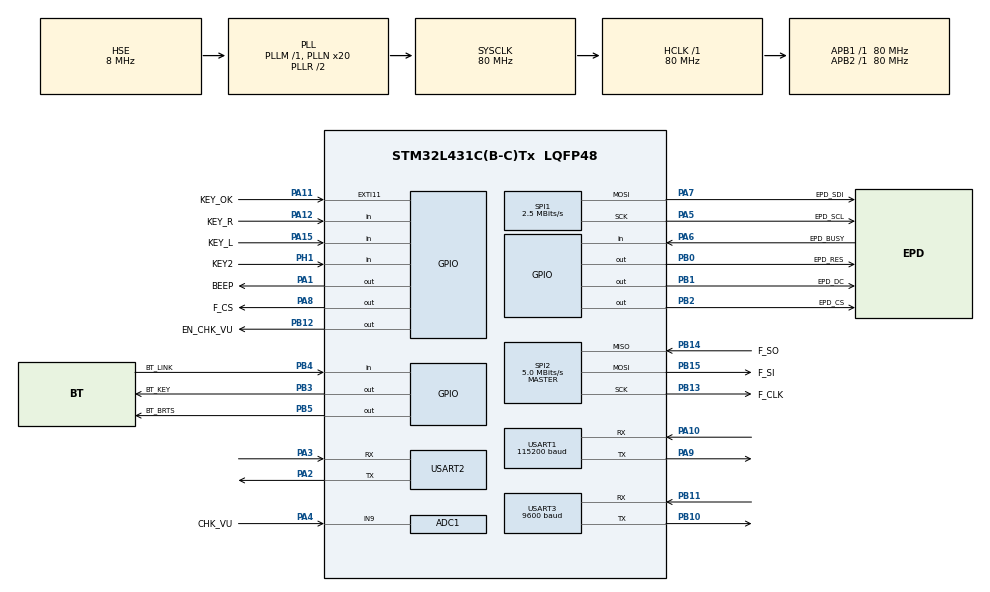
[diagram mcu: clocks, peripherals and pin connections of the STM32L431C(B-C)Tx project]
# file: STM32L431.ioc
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ADC1.Channel-1\#ChannelRegularConversion=ADC_CHANNEL_9
ADC1.NbrOfConversionFlag=1
ADC1.OffsetNumber-1\#ChannelRegularConversion=ADC_OFFSET_NONE
ADC1.Rank-1\#ChannelRegularConversion=1
ADC1.SamplingTime-1\#ChannelRegularConversion=ADC_SAMPLETIME_12CYCLES_5
ADC1.master=1
Dma.Request0=USART1_RX
Dma.Request1=USART1_TX
Dma.USART1_RX.0.Direction=DMA_PERIPH_TO_MEMORY
Dma.USART1_RX.0.Instance=DMA1_Channel5
Dma.USART1_RX.0.MemDataAlignment=DMA_MDATAALIGN_BYTE
Dma.USART1_RX.0.MemInc=DMA_MINC_ENABLE
Dma.USART1_RX.0.Mode=DMA_CIRCULAR
Dma.USART1_RX.0.PeriphDataAlignment=DMA_PDATAALIGN_BYTE
Dma.USART1_RX.0.PeriphInc=DMA_PINC_DISABLE
Dma.USART1_RX.0.Priority=DMA_PRIORITY_LOW
Dma.USART1_TX.1.Direction=DMA_MEMORY_TO_PERIPH
Dma.USART1_TX.1.Instance=DMA1_Channel4
Dma.USART1_TX.1.MemDataAlignment=DMA_MDATAALIGN_BYTE
Dma.USART1_TX.1.MemInc=DMA_MINC_ENABLE
Dma.USART1_TX.1.Mode=DMA_NORMAL
Dma.USART1_TX.1.PeriphDataAlignment=DMA_PDATAALIGN_BYTE
Dma.USART1_TX.1.PeriphInc=DMA_PINC_DISABLE
Dma.USART1_TX.1.Priority=DMA_PRIORITY_LOW
FREERTOS.Tasks01=defaultTask,0,128,StartDefaultTask,Default,NULL,Dynamic,NULL,NULL
FREERTOS.configMAX_PRIORITIES=16
FREERTOS.configTOTAL_HEAP_SIZE=15360
FREERTOS.configUSE_TICKLESS_IDLE=1
Mcu.Family=STM32L4
Mcu.Name=STM32L431C(B-C)Tx
Mcu.Package=LQFP48
NVIC.DMA1_Channel4_IRQn=true\:9\:0\:true\:false\:true\:true\:false\:true\:true
NVIC.DMA1_Channel5_IRQn=true\:9\:0\:true\:false\:true\:true\:false\:true\:true
NVIC.EXTI15_10_IRQn=true\:9\:0\:true\:false\:true\:true\:true\:true\:true
NVIC.PriorityGroup=NVIC_PRIORITYGROUP_4
NVIC.TIM1_UP_TIM16_IRQn=true\:15\:0\:false\:false\:true\:false\:false\:true\:true
NVIC.TimeBase=TIM1_UP_TIM16_IRQn
NVIC.TimeBaseIP=TIM1
NVIC.USART1_IRQn=true\:7\:0\:true\:false\:true\:true\:true\:true\:true
NVIC.USART2_IRQn=true\:7\:0\:true\:false\:true\:true\:true\:true\:true
PA0.GPIO_Label=KEY_WKUP
PA0.Mode=SYS_WakeUp0
PA0.Signal=SYS_WKUP1
PA1.GPIO_Label=BEEP
PA1.GPIO_ModeDefaultOutputPP=GPIO_MODE_OUTPUT_PP
PA1.GPIO_PuPd=GPIO_PULLUP
PA1.GPIO_Speed=GPIO_SPEED_FREQ_HIGH
PA1.PinState=GPIO_PIN_RESET
PA1.Signal=GPIO_Output
PA10.Mode=Asynchronous
PA10.Signal=USART1_RX
PA11.GPIO_Label=KEY_OK
PA11.GPIO_PuPd=GPIO_PULLUP
PA11.Signal=GPXTI11
PA12.GPIO_Label=KEY_R
PA12.GPIO_PuPd=GPIO_PULLUP
PA12.Signal=GPIO_Input
PA13\ (JTMS-SWDIO).Mode=Serial_Wire
PA13\ (JTMS-SWDIO).Signal=SYS_JTMS-SWDIO
PA14\ (JTCK-SWCLK).Mode=Serial_Wire
PA14\ (JTCK-SWCLK).Signal=SYS_JTCK-SWCLK
PA15\ (JTDI).GPIO_Label=KEY_L
PA15\ (JTDI).GPIO_PuPd=GPIO_PULLUP
PA15\ (JTDI).Signal=GPIO_Input
PA2.Mode=Asynchronous
PA2.Signal=USART2_TX
PA3.Mode=Asynchronous
PA3.Signal=USART2_RX
PA4.GPIO_Label=CHK_VU
PA4.Signal=ADCx_IN9
PA5.GPIO_Label=EPD_SCL
PA5.Mode=TX_Only_Simplex_Unidirect_Master
PA5.Signal=SPI1_SCK
PA6.GPIO_Label=EPD_BUSY
PA6.GPIO_PuPd=GPIO_PULLDOWN
PA6.Signal=GPIO_Input
PA7.GPIO_Label=EPD_SDI
PA7.Mode=TX_Only_Simplex_Unidirect_Master
PA7.Signal=SPI1_MOSI
PA8.GPIO_Label=F_CS
PA8.GPIO_Speed=GPIO_SPEED_FREQ_HIGH
PA8.Signal=GPIO_Output
PA9.Mode=Asynchronous
PA9.Signal=USART1_TX
PB0.GPIO_Label=EPD_RES
PB0.GPIO_Speed=GPIO_SPEED_FREQ_HIGH
PB0.PinState=GPIO_PIN_RESET
PB0.Signal=GPIO_Output
PB1.GPIO_Label=EPD_DC
PB1.GPIO_Speed=GPIO_SPEED_FREQ_HIGH
PB1.Signal=GPIO_Output
PB10.Mode=Asynchronous
PB10.Signal=USART3_TX
PB11.Mode=Asynchronous
PB11.Signal=USART3_RX
PB12.GPIO_Label=EN_CHK_VU
PB12.GPIO_Speed=GPIO_SPEED_FREQ_HIGH
PB12.Signal=GPIO_Output
PB13.GPIO_Label=F_CLK
PB13.Mode=Full_Duplex_Master
PB13.Signal=SPI2_SCK
PB14.GPIO_Label=F_SO
PB14.Mode=Full_Duplex_Master
PB14.Signal=SPI2_MISO
PB15.GPIO_Label=F_SI
PB15.Mode=Full_Duplex_Master
PB15.Signal=SPI2_MOSI
PB2.GPIO_Label=EPD_CS
PB2.GPIO_Speed=GPIO_SPEED_FREQ_HIGH
PB2.Signal=GPIO_Output
PB3\ (JTDO-TRACESWO).GPIO_Label=BT_KEY
PB3\ (JTDO-TRACESWO).GPIO_ModeDefaultOutputPP=GPIO_MODE_OUTPUT_PP
PB3\ (JTDO-TRACESWO).GPIO_PuPd=GPIO_PULLUP
PB3\ (JTDO-TRACESWO).GPIO_Speed=GPIO_SPEED_FREQ_LOW
PB3\ (JTDO-TRACESWO).PinState=GPIO_PIN_SET
PB3\ (JTDO-TRACESWO).Signal=GPIO_Output
PB4\ (NJTRST).GPIO_Label=BT_LINK
PB4\ (NJTRST).Signal=GPIO_Input
PB5.GPIO_Label=BT_BRTS
PB5.GPIO_PuPd=GPIO_PULLUP
PB5.GPIO_Speed=GPIO_SPEED_FREQ_LOW
PB5.PinState=GPIO_PIN_SET
PB5.Signal=GPIO_Output
PC14-OSC32_IN\ (PC14).Mode=LSE-External-Oscillator
PC14-OSC32_IN\ (PC14).Signal=RCC_OSC32_IN
PC15-OSC32_OUT\ (PC15).Mode=LSE-External-Oscillator
PC15-OSC32_OUT\ (PC15).Signal=RCC_OSC32_OUT
PH0-OSC_IN\ (PH0).Mode=HSE-External-Clock-Source
PH0-OSC_IN\ (PH0).Signal=RCC_OSC_IN
PH1-OSC_OUT\ (PH1).GPIO_Label=KEY2
PH1-OSC_OUT\ (PH1).Signal=GPIO_Input
ProjectManager.HeapSize=0x400
ProjectManager.StackSize=0x800
ProjectManager.TargetToolchain=MDK-ARM V5.32
RCC.ADCFreq_Value=80000000
RCC.AHBFreq_Value=80000000
RCC.APB1Freq_Value=80000000
RCC.APB1TimFreq_Value=80000000
RCC.APB2Freq_Value=80000000
RCC.APB2TimFreq_Value=80000000
RCC.CortexFreq_Value=80000000
RCC.HCLKFreq_Value=80000000
RCC.HSE_VALUE=8000000
RCC.HSI48_VALUE=48000000
RCC.HSI_VALUE=16000000
RCC.MSI_VALUE=4000000
RCC.PLLN=20
RCC.PLLSAI1N=20
RCC.PLLSourceVirtual=RCC_PLLSOURCE_HSE
RCC.SYSCLKFreq_VALUE=80000000
RCC.SYSCLKSource=RCC_SYSCLKSOURCE_PLLCLK
RCC.VCOOutputFreq_Value=160000000
SH.ADCx_IN9.0=ADC1_IN9,IN9-Single-Ended
SPI1.BaudRatePrescaler=SPI_BAUDRATEPRESCALER_32
SPI1.CalculateBaudRate=2.5 MBits/s
SPI1.DataSize=SPI_DATASIZE_8BIT
SPI1.Direction=SPI_DIRECTION_2LINES
SPI1.Mode=SPI_MODE_MASTER
SPI1.NSSPMode=SPI_NSS_PULSE_ENABLE
SPI1.VirtualType=VM_MASTER
SPI2.BaudRatePrescaler=SPI_BAUDRATEPRESCALER_16
SPI2.CLKPhase=SPI_PHASE_1EDGE
SPI2.CalculateBaudRate=5.0 MBits/s
SPI2.DataSize=SPI_DATASIZE_8BIT
SPI2.Direction=SPI_DIRECTION_2LINES
SPI2.Mode=SPI_MODE_MASTER
SPI2.VirtualType=VM_MASTER
USART1.BaudRate=115200
USART1.VirtualMode-Asynchronous=VM_ASYNC
USART2.VirtualMode-Asynchronous=VM_ASYNC
USART3.BaudRate=9600
USART3.VirtualMode-Asynchronous=VM_ASYNC
VP_FREERTOS_VS_CMSIS_V1.Mode=CMSIS_V1
VP_SYS_VS_tim1.Mode=TIM1
board=custom

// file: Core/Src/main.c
/* USER CODE BEGIN Header */
/**
  ******************************************************************************
  * @file           : main.c
  * @brief          : Main program body
  ******************************************************************************
  * @attention
  *
  * Copyright (c) 2025 STMicroelectronics.
  * All rights reserved.
  *
  * This software is licensed under terms that can be found in the LICENSE file
  * in the root directory of this software component.
  * If no LICENSE file comes with this software, it is provided AS-IS.
  *
  ******************************************************************************
  */
/* USER CODE END Header */
#include "main.h"
#include "cmsis_os.h"
#include "adc.h"
#include "dma.h"
#include "spi.h"
#include "usart.h"
#include "gpio.h"

/* USER CODE BEGIN Includes */
#include "ATcmd.h"
#include "w25qxx.h"
#include "DEV_Config.h"
#include "EPD_Command.h"
#include "GUI_Paint.h"
#include "Button.h"
#include "test.h"
#include "gbkfont.h"
#include "bl.h"
/* USER CODE END Includes */

/* USER CODE BEGIN PTD */
TaskHandle_t StartTask_Handler;
void start_task(void *pvParameters);

/* USER CODE END PTD */

void SystemClock_Config(void);
void MX_FREERTOS_Init(void);

int main(void)
{

  /* MCU Configuration--------------------------------------------------------*/

  /* Reset of all peripherals, Initializes the Flash interface and the Systick. */
  HAL_Init();

  /* Configure the system clock */
  SystemClock_Config();

  /* Initialize all configured peripherals */
  MX_GPIO_Init();
  MX_DMA_Init();
  MX_ADC1_Init();
  MX_SPI1_Init();
  MX_SPI2_Init();
  MX_USART1_UART_Init();
  MX_USART2_UART_Init();
  MX_USART3_UART_Init();
  /* USER CODE BEGIN 2 */
	DWT_Init();
	W25QXX_Init();

	if (CheckBootFlag())
	{
		printf("\r\n  Boot flag detected. Staying in Bootloader.\r\n");
	}
	else
	{
			if (IsUserProgramValid() && HAL_GPIO_ReadPin(KEY_OK_GPIO_Port,KEY_OK_Pin))
			{
					printf("\r\nValid user program found. Jumping to user application...\r\n");
					JumpToUserApplication();
			}
			else if(!IsUserProgramValid())
			{
				printf("\r\nNo valid user program found. Staying in Bootloader.\r\n");
				printf("User application Err\r\n");
				printf("Bootloader Starting\r\n");
			}
			else if(IsUserProgramValid() && !HAL_GPIO_ReadPin(KEY_OK_GPIO_Port,KEY_OK_Pin))
			{
				printf("\r\nButton pressed. Staying in Bootloader.\r\n");
			}
	}
  /* USER CODE END 2 */

  /* Call init function for freertos objects (in freertos.c) */
  MX_FREERTOS_Init();

  /* Start scheduler */
//  osKernelStart();
  /* We should never get here as control is now taken by the scheduler */
  /* Infinite loop */
  /* USER CODE BEGIN WHILE */
    xTaskCreate((TaskFunction_t )start_task,
                (const char*    )"start_task",
                (uint16_t       )128,
                (void*          )NULL,
                (UBaseType_t    )1,
                (TaskHandle_t*  )&StartTask_Handler);
    osKernelStart();
  while (1)
  {
    /* USER CODE END WHILE */

  }
}

void SystemClock_Config(void)
{
  RCC_OscInitTypeDef RCC_OscInitStruct = {0};
  RCC_ClkInitTypeDef RCC_ClkInitStruct = {0};

  /** Configure the main internal regulator output voltage
  */
  if (HAL_PWREx_ControlVoltageScaling(PWR_REGULATOR_VOLTAGE_SCALE1) != HAL_OK)
  {
    Error_Handler();
  }

  /** Initializes the RCC Oscillators according to the specified parameters
  * in the RCC_OscInitTypeDef structure.
  */
  RCC_OscInitStruct.OscillatorType = RCC_OSCILLATORTYPE_HSE;
  RCC_OscInitStruct.HSEState = RCC_HSE_BYPASS;
  RCC_OscInitStruct.PLL.PLLState = RCC_PLL_ON;
  RCC_OscInitStruct.PLL.PLLSource = RCC_PLLSOURCE_HSE;
  RCC_OscInitStruct.PLL.PLLM = 1;
  RCC_OscInitStruct.PLL.PLLN = 20;
  RCC_OscInitStruct.PLL.PLLP = RCC_PLLP_DIV7;
  RCC_OscInitStruct.PLL.PLLQ = RCC_PLLQ_DIV2;
  RCC_OscInitStruct.PLL.PLLR = RCC_PLLR_DIV2;
  if (HAL_RCC_OscConfig(&RCC_OscInitStruct) != HAL_OK)
  {
    Error_Handler();
  }

  /** Initializes the CPU, AHB and APB buses clocks
  */
  RCC_ClkInitStruct.ClockType = RCC_CLOCKTYPE_HCLK|RCC_CLOCKTYPE_SYSCLK
                              |RCC_CLOCKTYPE_PCLK1|RCC_CLOCKTYPE_PCLK2;
  RCC_ClkInitStruct.SYSCLKSource = RCC_SYSCLKSOURCE_PLLCLK;
  RCC_ClkInitStruct.AHBCLKDivider = RCC_SYSCLK_DIV1;
  RCC_ClkInitStruct.APB1CLKDivider = RCC_HCLK_DIV1;
  RCC_ClkInitStruct.APB2CLKDivider = RCC_HCLK_DIV1;

  if (HAL_RCC_ClockConfig(&RCC_ClkInitStruct, FLASH_LATENCY_4) != HAL_OK)
  {
    Error_Handler();
  }
}

/* USER CODE BEGIN 4 */
void test(void *pvParameters);
void boot(void *pvParameters);
void start_task(void *pvParameters)
{
    taskENTER_CRITICAL();
		xTaskCreate((TaskFunction_t )test,
                (const char*    )"test",
                (uint16_t       )256,
                (void*          )NULL,
                (UBaseType_t    )2,
                (TaskHandle_t*  )NULL);
		xTaskCreate((TaskFunction_t )boot,
                (const char*    )"boot",
                (uint16_t       )256,
                (void*          )NULL,
                (UBaseType_t    )2,
                (TaskHandle_t*  )NULL);
				taskEXIT_CRITICAL();
				vTaskDelete(StartTask_Handler);
}

void test(void *pvParameters)
{
		while(1)
		{
			ButtonTask();
		}
}

void boot(void *pvParameters)
{
		printf("boot task run\r\n");
		vTaskDelay(pdMS_TO_TICKS(1000));
		printf("EPD Init\r\n");
		DEV_Module_Init();
		EPD_4IN2_V2_Init();
		EPD_4IN2_V2_Clear();
		uint8_t *BlackImage;
		BlackImage = mymalloc(SRAMIN, ((EPD_4IN2_V2_WIDTH % 8 == 0) ? (EPD_4IN2_V2_WIDTH / 8) : (EPD_4IN2_V2_WIDTH / 8 + 1)) * EPD_4IN2_V2_HEIGHT);
		if (BlackImage == NULL)
		{
				printf("Failed to apply for black memory...\r\n");
		}

		Paint_NewImage(BlackImage, EPD_4IN2_V2_WIDTH, EPD_4IN2_V2_HEIGHT, 0, EPD_WHITE);
		Paint_SelectImage(BlackImage);
		Paint_Clear(EPD_WHITE);
		Paint_Show_Str(60,130,"Bootloader Started !!!",24,1,0);
		EPD_4IN2_V2_Display(BlackImage);
		myfree(SRAMIN,BlackImage);
		while(1)
		{
			vTaskDelay(pdMS_TO_TICKS(1000));
		}
}
/* USER CODE END 4 */

void HAL_TIM_PeriodElapsedCallback(TIM_HandleTypeDef *htim)
{
  if (htim->Instance == TIM1) {
    HAL_IncTick();
  }
}

void Error_Handler(void)
{
  __disable_irq();
  while (1)
  {
  }
}
